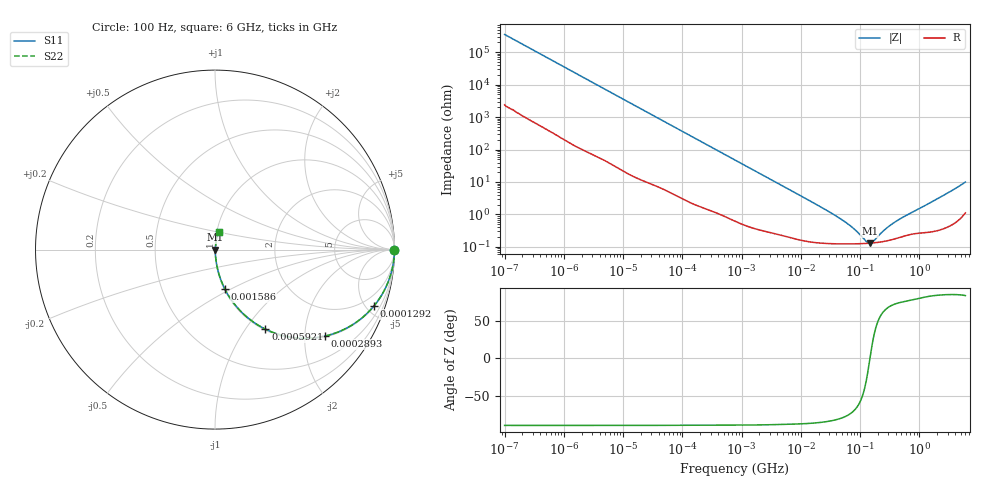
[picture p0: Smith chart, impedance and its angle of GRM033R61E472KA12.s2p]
!Murata Part Number: GRM033R61E472KA12
!These Parameters are Measured in Series Mode Connection
!Data Generated on Mar 30, 2021
!  o--ll--o
!Port1  Port2
!  o------o
!Operation Temp=25[degC], DC Bias Voltage=0[V]
!Freq. Start=100[Hz] Stop=6[GHz] 401[Steps]
# Hz S RI R 50
!Freq.(Hz) S11(Real) S11(Imag) S21(Real) S21(Imag) S12(Real) S12(Imag) S22(Real) S22(Imag)
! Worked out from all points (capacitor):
!   401 points, 100 Hz to 6 GHz, reference 50 ohm
!   read as one part in series: C = 4.49 nF near 109 Hz
!   lowest |Z| = 130 mohm at 145.9 MHz (marker M1)
!   series resonance near 147 MHz, so ESL is about 260 pH
!   S11 on the Smith chart (normalised r, x): 100 Hz: open; 129.2 kHz: 1.05, -5.63; 289.3 kHz: 1.03, -2.53; 592.1 kHz: 1.02, -1.24; 1.586 MHz: 1.01, -0.47; 6 GHz: 1.02, +0.20
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100  1 -0.000283  2e-06 0.000283  2e-06 0.000283  1 -0.000283
2008  0.9999 -0.00562  6.34e-05 0.00562  6.34e-05 0.00562  0.9999 -0.00562
12592  0.9986 -0.0349  0.00143 0.0349  0.00143 0.0349  0.9986 -0.0349
40335  0.9869 -0.1099  0.0131 0.1099  0.0131 0.1099  0.9869 -0.1099
129199  0.886 -0.3136  0.114 0.3136  0.114 0.3136  0.886 -0.3136
193316  0.7784 -0.4107  0.2216 0.4107  0.2216 0.4107  0.7784 -0.4107
289253  0.6136 -0.4816  0.3864 0.4816  0.3864 0.4816  0.6136 -0.4816
413847  0.44 -0.4906  0.56 0.4906  0.56 0.4906  0.44 -0.4906
592111  0.2804 -0.443  0.7196 0.443  0.7196 0.443  0.2804 -0.443
774597  0.1874 -0.3837  0.8126 0.3837  0.8126 0.3837  0.1874 -0.3837
1585629  0.0547 -0.2195  0.9453 0.2195  0.9453 0.2195  0.0547 -0.2195
4246196  0.00997 -0.0866  0.99 0.0866  0.99 0.0866  0.00997 -0.0866
1.555665e7  0.00197 -0.0239  0.998 0.0239  0.998 0.0239  0.00197 -0.0239
5.699437e7  0.00127 -0.00562  0.9987 0.00562  0.9987 0.00562  0.00127 -0.00562
8.154455e7  0.00125 -0.0032  0.9987 0.0032  0.9987 0.0032  0.00125 -0.0032
1.275994e8  0.00128 -0.000726  0.9987 0.000726  0.9987 0.000726  0.00128 -0.000726
1.459435e8  0.0013 -3.77e-05  0.9987 3.77e-05  0.9987 3.77e-05  0.0013 -3.77e-05
1.669249e8  0.00133 0.000648  0.9987 -0.000648  0.9987 -0.000648  0.00133 0.000648
3.124326e8  0.00161 0.00413  0.9984 -0.00413  0.9984 -0.00413  0.00161 0.00413
5.112761e8  0.00212 0.00765  0.9979 -0.00765  0.9979 -0.00765  0.00212 0.00765
2.240541e9  0.00445 0.0335  0.9955 -0.0335  0.9955 -0.0335  0.00445 0.0335
6e9  0.0205 0.0962  0.9795 -0.0962  0.9795 -0.0962  0.0205 0.0962
